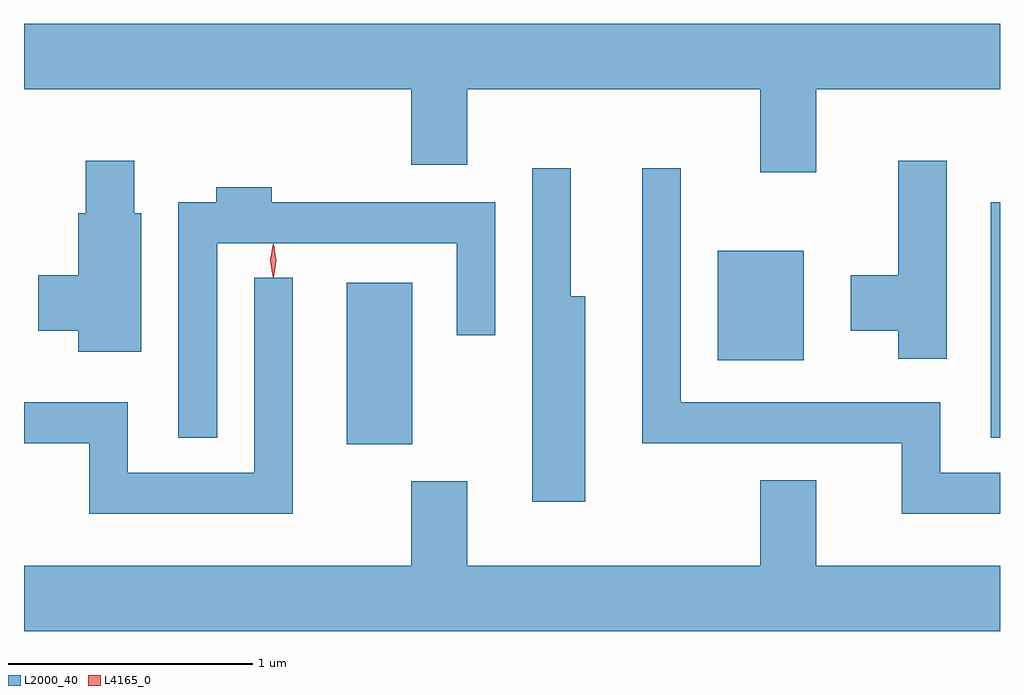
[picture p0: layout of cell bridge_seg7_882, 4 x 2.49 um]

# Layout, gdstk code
import gdstk
lib = gdstk.Library(unit=1e-6, precision=1e-09)
def R(c, l, rs):  # rectangles x0, y0, x1, y1
    for r in rs: c.add(gdstk.rectangle(r[:2], r[2:], *l))
def P(c, l, *ps):  # polygons
    for p in ps: c.add(gdstk.Polygon(p, *l))
L2000_40 = (2000, 40)
L4165_0 = (4165, 0)

bridge_seg7_882 = lib.new_cell('bridge_seg7_882')
R(bridge_seg7_882, L2000_40, [(417.276,1706.201,417.544,1706.864), (419.916,1706.228,419.953,1707.194), (418.796,1706.546,419.149,1706.994)])
P(bridge_seg7_882, L2000_40, [(419.199,1707.656),(419.953,1707.656),(419.953,1707.924),(415.953,1707.924),(415.953,1707.656),(417.541,1707.656),(417.541,1707.346),(417.769,1707.346),(417.769,1707.656),(418.971,1707.656),(418.971,1707.316),(419.199,1707.316)],
  [(419.734,1707.364),(419.536,1707.364),(419.536,1706.894),(419.341,1706.894),(419.341,1706.666),(419.536,1706.666),(419.536,1706.551),(419.734,1706.551)],
  [(416.434,1707.149),(416.404,1707.149),(416.404,1707.364),(416.206,1707.364),(416.206,1707.149),(416.176,1707.149),(416.176,1706.894),(416.011,1706.894),(416.011,1706.666),(416.176,1706.666),(416.176,1706.581),(416.434,1706.581)],
  [(419.953,1706.084),(419.709,1706.084),(419.709,1706.374),(418.644,1706.374),(418.644,1707.333),(418.486,1707.333),(418.486,1706.206),(419.551,1706.206),(419.551,1705.916),(419.953,1705.916)],
  [(418.254,1706.809),(418.194,1706.809),(418.194,1707.333),(418.036,1707.333),(418.036,1705.966),(418.254,1705.966)],
  [(416.744,1707.026),(417.726,1707.026),(417.726,1706.648),(417.884,1706.648),(417.884,1707.194),(416.969,1707.194),(416.969,1707.254),(416.741,1707.254),(416.741,1707.194),(416.586,1707.194),(416.586,1706.228),(416.744,1706.228)],
  [(417.054,1706.883),(416.896,1706.883),(416.896,1706.084),(416.379,1706.084),(416.379,1706.374),(415.953,1706.374),(415.953,1706.206),(416.221,1706.206),(416.221,1705.916),(417.054,1705.916)],
  [(419.953,1705.704),(419.199,1705.704),(419.199,1706.054),(418.971,1706.054),(418.971,1705.704),(417.769,1705.704),(417.769,1706.049),(417.541,1706.049),(417.541,1705.704),(415.953,1705.704),(415.953,1705.436),(419.953,1705.436)])
P(bridge_seg7_882, L4165_0, [(416.975,1706.884),(416.966,1706.953),(416.975,1707.022),(416.976,1707.023),(416.976,1707.022),(416.986,1706.953),(416.976,1706.884),(416.976,1706.884)],
  [(416.972,1706.887),(416.963,1706.954),(416.972,1707.02),(416.972,1707.02),(416.973,1707.02),(416.983,1706.954),(416.973,1706.887),(416.973,1706.887)])

lib.write_gds('bridge_seg7_882.gds')
